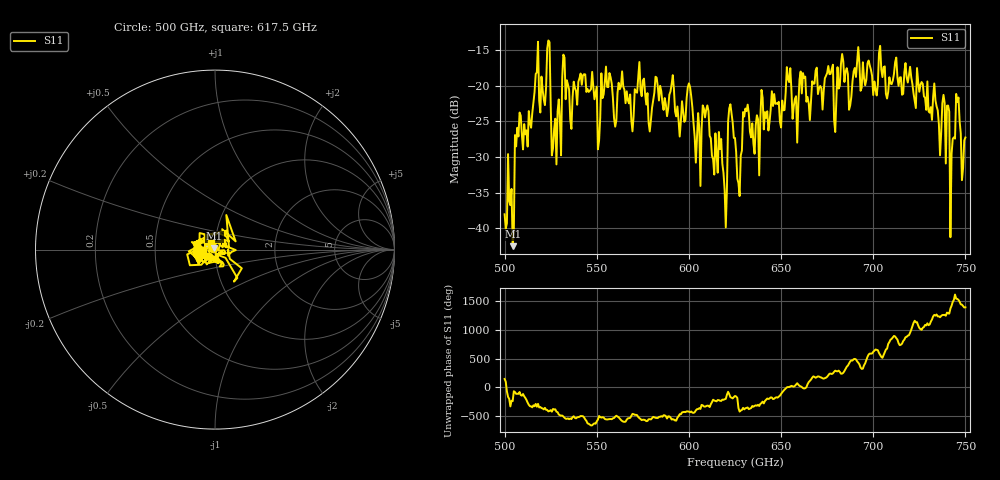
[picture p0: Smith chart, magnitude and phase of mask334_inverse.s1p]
!Created with skrf (http://scikit-rf.org).
# GHz S MA R 50.0
!freq magS11 angS11
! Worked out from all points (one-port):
!   401 points, 500 GHz to 750 GHz, reference 50 ohm
!   lowest |S11| = -42.5 dB at 504.4 GHz (marker M1), VSWR 1.02, Z = 49.6 + j0.655 ohm
!   |S11| at or under -10 dB: start of sweep to end of sweep
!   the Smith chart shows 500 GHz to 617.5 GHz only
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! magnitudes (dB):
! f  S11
! 500 GHz  -38.0
! 504.4 GHz  -42.5
! 506.9 GHz  -25.9
! 513.8 GHz  -25.2
! 516.9 GHz  -18.4
! 523.8 GHz  -13.7
! 526.9 GHz  -26.1
! 531.2 GHz  -18.9
! 542.5 GHz  -18.6
! 550.6 GHz  -28.9
! 562.5 GHz  -20.5
! 593.8 GHz  -22.9
! 600 GHz  -19.7
! 605 GHz  -23.9
! 609.4 GHz  -23.4
! 619.4 GHz  -34.6
! 622.5 GHz  -22.6
! 625 GHz  -27.3
! 627.5 GHz  -35.5
! 630.6 GHz  -23.2
! 636.9 GHz  -24.2
! 656.2 GHz  -24.6
! 687.5 GHz  -22.8
! 718.8 GHz  -19.6
! 739.4 GHz  -30.9
! 743.1 GHz  -27.5
! 745.6 GHz  -22.3
! 750 GHz  -27.3
